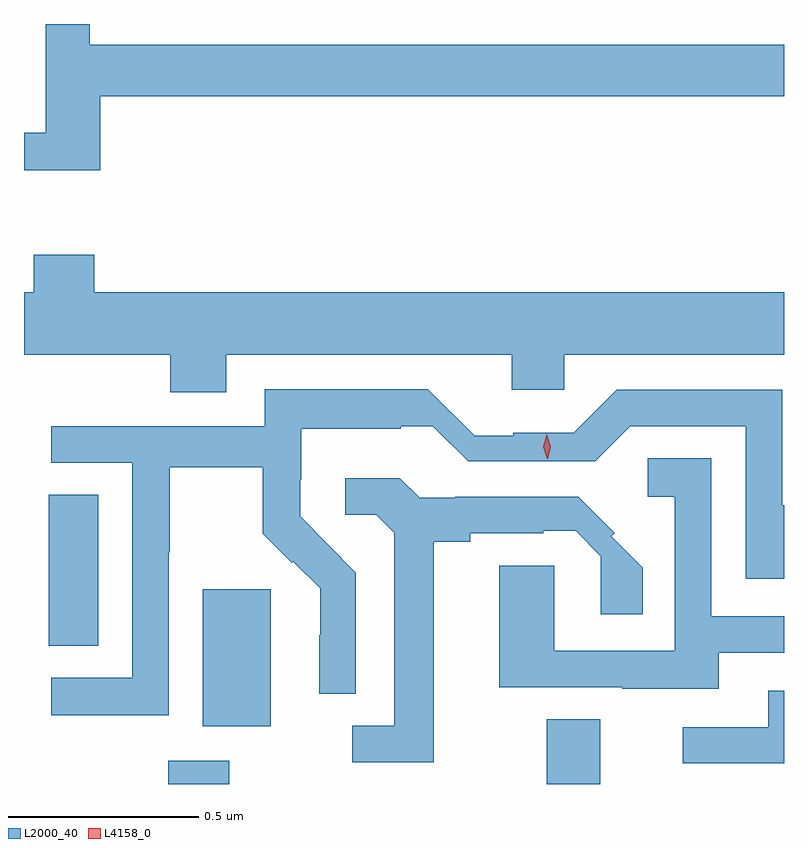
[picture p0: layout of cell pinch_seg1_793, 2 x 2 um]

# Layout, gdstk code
import gdstk
lib = gdstk.Library(unit=1e-6, precision=1e-09)
def R(c, l, rs):  # rectangles x0, y0, x1, y1
    for r in rs: c.add(gdstk.rectangle(r[:2], r[2:], *l))
def P(c, l, *ps):  # polygons
    for p in ps: c.add(gdstk.Polygon(p, *l))
L2000_40 = (2000, 40)
L4158_0 = (4158, 0)

pinch_seg1_793 = lib.new_cell('pinch_seg1_793')
R(pinch_seg1_793, L2000_40, [(611.009,553.266,611.169,553.327), (612.005,553.266,612.145,553.436), (611.099,553.418,611.278,553.779), (610.694,553.63,610.825,554.027)])
P(pinch_seg1_793, L2000_40, [(610.829,555.076),(612.629,555.076),(612.629,555.212),(610.802,555.212),(610.802,555.266),(610.686,555.266),(610.686,554.98),(610.629,554.98),(610.629,554.881),(610.829,554.881)],
  [(611.161,554.396),(611.912,554.396),(611.912,554.303),(612.051,554.303),(612.051,554.396),(612.629,554.396),(612.629,554.56),(610.814,554.56),(610.814,554.659),(610.654,554.659),(610.654,554.56),(610.629,554.56),(610.629,554.396),(611.014,554.396),(611.014,554.297),(611.161,554.297)],
  [(611.01,553.876),(611.013,553.876),(611.013,554.1),(611.257,554.1),(611.257,553.925),(611.334,553.848),(611.337,553.851),(611.408,553.781),(611.408,553.658),(611.406,553.658),(611.406,553.504),(611.502,553.504),(611.502,553.822),(611.429,553.895),(611.43,553.896),(611.356,553.97),(611.356,554.067),(611.358,554.067),(611.358,554.201),(611.621,554.201),(611.621,554.208),(611.705,554.208),(611.798,554.115),(612.132,554.115),(612.225,554.208),(612.528,554.208),(612.528,553.806),(612.629,553.806),(612.629,553.999),(612.624,553.999),(612.624,554.304),(612.189,554.304),(612.076,554.191),(611.916,554.191),(611.916,554.182),(611.815,554.182),(611.692,554.305),(611.262,554.305),(611.262,554.208),(610.701,554.208),(610.701,554.112),(610.914,554.112),(610.914,553.545),(610.701,553.545),(610.701,553.447),(611.01,553.447)],
  [(612.457,553.611),(612.629,553.611),(612.629,553.707),(612.438,553.707),(612.438,554.123),(612.27,554.123),(612.27,554.022),(612.342,554.022),(612.342,553.617),(612.025,553.617),(612.025,553.841),(611.879,553.841),(611.879,553.521),(612.203,553.521),(612.203,553.517),(612.457,553.517)],
  [(611.707,553.904),(611.803,553.904),(611.803,553.926),(611.996,553.926),(611.996,553.932),(612.081,553.932),(612.147,553.866),(612.147,553.713),(612.257,553.713),(612.257,553.835),(612.175,553.918),(612.183,553.926),(612.087,554.022),(611.764,554.022),(611.764,554.019),(611.67,554.019),(611.618,554.071),(611.475,554.071),(611.475,553.974),(611.556,553.974),(611.603,553.927),(611.603,553.419),(611.493,553.419),(611.493,553.323),(611.707,553.323)],
  [(612.629,553.512),(612.587,553.512),(612.587,553.416),(612.363,553.416),(612.363,553.32),(612.629,553.32)])
P(pinch_seg1_793, L4158_0, [(612.006,554.122),(611.995,554.153),(612.004,554.185),(612.004,554.186),(612.004,554.185),(612.015,554.154),(612.007,554.122),(612.007,554.122)])

lib.write_gds('pinch_seg1_793.gds')
